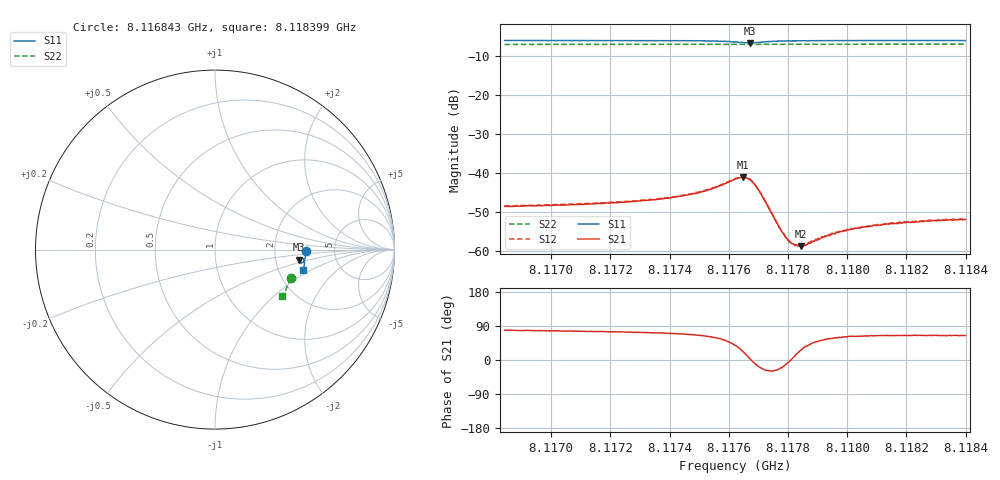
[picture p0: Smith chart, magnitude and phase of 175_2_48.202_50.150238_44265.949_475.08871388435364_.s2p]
#  HZ  S  RI  R  50.00
! Rohde & Schwarz Vector Network Analyzer
! Rohde-Schwarz,ZNB20-2Port,1311601062101988,3.16
! Created: UTC 3/20/2024, 11:43:53 AM
! freq[Hz]  re:S11  im:S11  re:S21  im:S21  re:S12  im:S12  re:S22  im:S22
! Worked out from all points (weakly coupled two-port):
!   401 points, 8.116843 GHz to 8.118399 GHz, reference 50 ohm
!   highest |S21| = -41.04 dB at 8.117648 GHz (marker M1); lowest = -58.7 dB at 8.117843 GHz (marker M2)
!   lowest |S11| = -6.6 dB at 8.117672 GHz (marker M3), VSWR 2.77, Z = 135 - j19.7 ohm
!   |S11| at or under -10 dB: nowhere
!   |S22| runs from -6.9 to -6.8 dB; largest |S21 - S12| = 0.00022
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8.116843e9  0.5064 -0.00502  0.000717 0.00368  0.000796 0.00374  0.4214 -0.1589
8.1171036e9  0.5052 -0.0254  0.000966 0.00388  0.00106 0.00394  0.4153 -0.1762
8.1172436e9  0.5041 -0.0369  0.00118 0.00405  0.00128 0.00413  0.4118 -0.1854
8.1173642e9  0.5023 -0.0476  0.00147 0.00439  0.00156 0.00444  0.4086 -0.1931
8.1174965e9  0.4982 -0.0611  0.00232 0.00508  0.00242 0.00519  0.4046 -0.2017
8.1175587e9  0.4929 -0.0689  0.00349 0.00566  0.00365 0.0057  0.4026 -0.2058
8.117621e9  0.4783 -0.0739  0.0065 0.00528  0.00665 0.00531  0.4002 -0.2095
8.1176482e9  0.4689 -0.0682  0.00822 0.00334  0.00839 0.00329  0.3991 -0.2108
8.1176715e9  0.4666 -0.0568  0.00822 0.000452  0.0084 0.000375  0.3985 -0.2117
8.1176871e9  0.4707 -0.0499  0.00711 -0.00109  0.00721 -0.0012  0.3984 -0.2123
8.1177026e9  0.4768 -0.0465  0.00561 -0.00187  0.00568 -0.00195  0.3981 -0.213
8.1177688e9  0.494 -0.0535  0.00186 -0.000838  0.00191 -0.000915  0.3968 -0.2176
8.1177999e9  0.4966 -0.0585  0.00137 -0.000155  0.00138 -0.000201  0.3961 -0.2197
8.1178232e9  0.4975 -0.0618  0.00117 0.00021  0.00118 0.000231  0.3952 -0.2212
8.1178427e9  0.498 -0.0645  0.00105 0.000498  0.00107 0.000474  0.3948 -0.2226
8.1178582e9  0.4984 -0.0664  0.000959 0.000686  0.00104 0.000711  0.3943 -0.2234
8.1178816e9  0.4984 -0.0691  0.000948 0.000907  0.001 0.000941  0.3936 -0.2249
8.1179438e9  0.4985 -0.0757  0.000895 0.00136  0.000911 0.00139  0.3914 -0.229
8.1179749e9  0.4981 -0.0787  0.000902 0.00153  0.000913 0.00155  0.3904 -0.231
8.1180566e9  0.4974 -0.086  0.000919 0.00183  0.000954 0.00187  0.3877 -0.236
8.1181422e9  0.4962 -0.0931  0.000971 0.00203  0.000993 0.00205  0.3848 -0.2412
8.1183989e9  0.4921 -0.1132  0.00109 0.00231  0.00118 0.00237  0.3755 -0.2566
